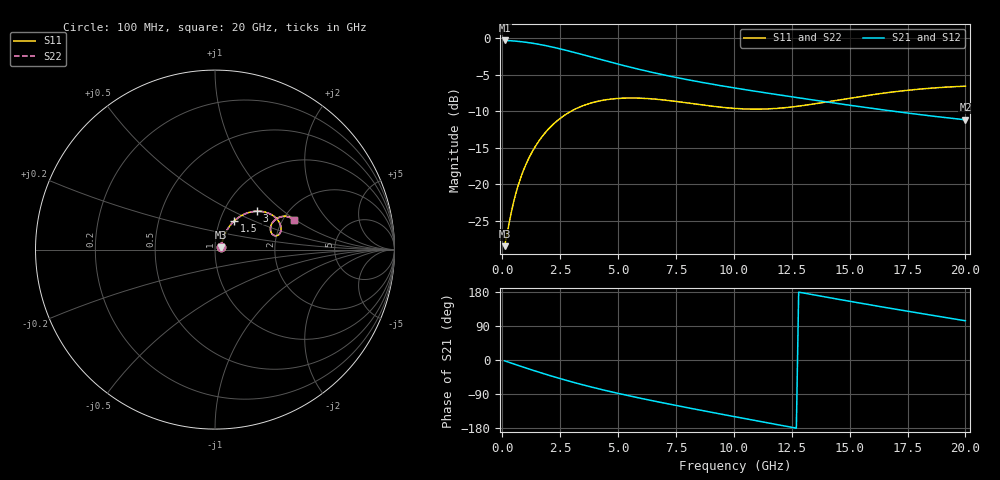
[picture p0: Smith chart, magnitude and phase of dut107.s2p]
! Touchstone file exported from HFSS 2024.1.0
!  File:  C:/UserFiles/LocalFiles/RDL_TSV_Batchsim/temp_RDL_TSV_107_1779421436.aedt
!  Generated:  11:57:35 AM May 22, 2026
!  Design:  RDL_TSV
!  Project:  temp_RDL_TSV_107_1779421436
!  Setup:  Setup1
!  Solution:  Sweep
! Variables:
!  dtsv = 6.7um
!  hbump = 3um
!  htsv = 67.09um
!  ldown = 498.09um
!  lrdl = 603.95um
!  p = 40
!  p1 = 49.54um
!  rhole = 10um
!  subl = 3910.07um
!  t = 450um
!  tdown = 2.67um
!  trdl = 3.15um
!  viad = 10um
!  wdown = 16.63um
!  wrdl = 11.46um
!  xbump = 18um
# GHz S MA R 50.000000
! Terminal data exported
! Port[1] = TM1_1_T1
! Port[2] = TM1_4_T1
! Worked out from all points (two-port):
!   200 points, 100 MHz to 20 GHz, reference 50 ohm
!   highest |S21| = -0.31 dB at 100 MHz (marker M1); lowest = -11.2 dB at 20 GHz (marker M2)
!   |S21| within 3 dB of the highest: start of sweep to 4.716 GHz
!   lowest |S11| = -28.5 dB at 100 MHz (marker M3), VSWR 1.08, Z = 53.7 + j1.4 ohm
!   |S11| at or under -10 dB: start of sweep to 2.968 GHz
!   |S22| runs from -28.5 to -6.6 dB; largest |S21 - S12| = 1.4e-14
!   S11 on the Smith chart (normalised r, x): 100 MHz: 1.07, +0.03; 1.5 GHz: 1.17, +0.38; 3 GHz: 1.43, +0.68; 20 GHz: 2.27, +0.98
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0.1  0.03779 20.1  0.9646 -2.1  0.9646 -2.1  0.03779 20.1
! Gamma 0 0 0 0
! Port Impedance 50 0 50 0
0.4  0.06563 50.0  0.9595 -8.5  0.9595 -8.5  0.06564 50.0
0.7  0.1 57.2  0.9504 -14.6  0.9504 -14.6  0.1 57.1
0.9  0.1231 58.4  0.9428 -18.7  0.9428 -18.7  0.1231 58.3
1.1  0.1458 58.3  0.9339 -22.7  0.9339 -22.7  0.1458 58.3
1.5  0.1896 56.4  0.9127 -30.6  0.9127 -30.6  0.1896 56.3
2.2  0.2577 50.3  0.8669 -43.7  0.8669 -43.7  0.2577 50.2
2.6  0.2905 46.3  0.8376 -50.9  0.8376 -50.9  0.2904 46.2
3  0.3183 42.3  0.8072 -57.7  0.8072 -57.7  0.3182 42.2
3.5  0.346 37.4  0.7692 -65.9  0.7692 -65.9  0.3458 37.3
4.2  0.3723 31.1  0.718 -76.6  0.718 -76.6  0.3721 31.0
5.1  0.388 24.2  0.6585 -89.4  0.6585 -89.4  0.3878 24.1
5.9  0.389 19.4  0.6126 -100.0  0.6126 -100.0  0.3887 19.3
6.8  0.3804 15.5  0.5685 -111.4  0.5685 -111.4  0.3802 15.4
8.4  0.3536 12.7  0.5059 -130.6  0.5059 -130.6  0.3534 12.6
10.1  0.3303 15.2  0.4547 -150.3  0.4547 -150.3  0.3302 15.1
11.7  0.3297 20.5  0.415 -168.6  0.415 -168.6  0.3294 20.3
13.4  0.3537 25.2  0.3784 172.4  0.3784 172.4  0.3532 25.0
15.1  0.3909 26.8  0.3461 153.9  0.3461 153.9  0.3901 26.6
16.7  0.4254 25.9  0.3194 137.0  0.3194 137.0  0.4244 25.7
18.3  0.4522 23.7  0.2966 120.6  0.2966 120.6  0.4509 23.5
20  0.4696 20.9  0.2765 103.6  0.2765 103.6  0.468 20.7
